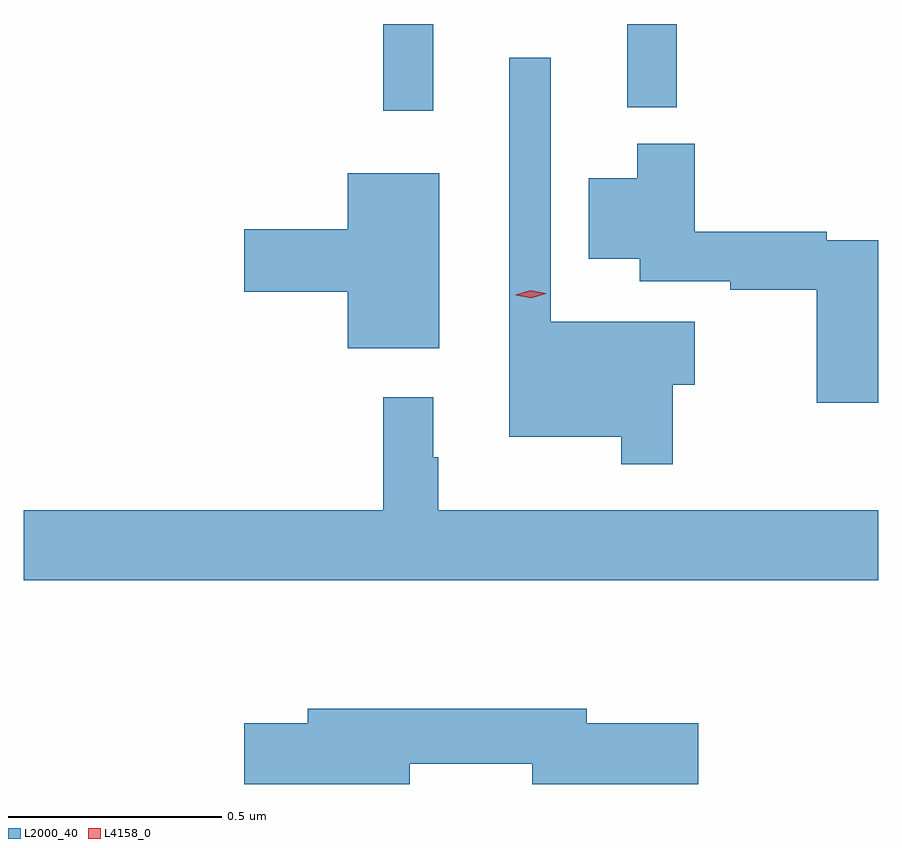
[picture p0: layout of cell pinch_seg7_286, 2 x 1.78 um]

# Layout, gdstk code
import gdstk
lib = gdstk.Library(unit=1e-6, precision=1e-09)
def R(c, l, rs):  # rectangles x0, y0, x1, y1
    for r in rs: c.add(gdstk.rectangle(r[:2], r[2:], *l))
def P(c, l, *ps):  # polygons
    for p in ps: c.add(gdstk.Polygon(p, *l))
L2000_40 = (2000, 40)
L4158_0 = (4158, 0)

pinch_seg7_286 = lib.new_cell('pinch_seg7_286')
R(pinch_seg7_286, L2000_40, [(698.461,1032.351,698.579,1032.554), (699.032,1032.359,699.149,1032.554)])
P(pinch_seg7_286, L2000_40, [(699.139,1031.71),(699.19,1031.71),(699.19,1031.857),(698.853,1031.857),(698.853,1032.475),(698.756,1032.475),(698.756,1031.588),(699.018,1031.588),(699.018,1031.523),(699.139,1031.523)],
  [(699.62,1032.048),(699.5,1032.048),(699.5,1032.068),(699.191,1032.068),(699.191,1032.274),(699.056,1032.274),(699.056,1032.193),(698.942,1032.193),(698.942,1032.005),(699.062,1032.005),(699.062,1031.952),(699.274,1031.952),(699.274,1031.932),(699.476,1031.932),(699.476,1031.667),(699.62,1031.667)],
  [(698.593,1032.205),(698.378,1032.205),(698.378,1032.074),(698.136,1032.074),(698.136,1031.927),(698.378,1031.927),(698.378,1031.795),(698.593,1031.795)],
  [(699.62,1031.416),(698.59,1031.416),(698.59,1031.54),(698.578,1031.54),(698.578,1031.68),(698.461,1031.68),(698.461,1031.416),(697.62,1031.416),(697.62,1031.252),(699.62,1031.252)],
  [(698.524,1030.822),(698.81,1030.822),(698.81,1030.775),(699.199,1030.775),(699.199,1030.917),(698.938,1030.917),(698.938,1030.951),(698.285,1030.951),(698.285,1030.917),(698.136,1030.917),(698.136,1030.775),(698.524,1030.775)])
P(pinch_seg7_286, L4158_0, [(698.808,1031.912),(698.772,1031.919),(698.771,1031.919),(698.772,1031.92),(698.806,1031.931),(698.842,1031.924),(698.843,1031.924),(698.842,1031.923)])

lib.write_gds('pinch_seg7_286.gds')
